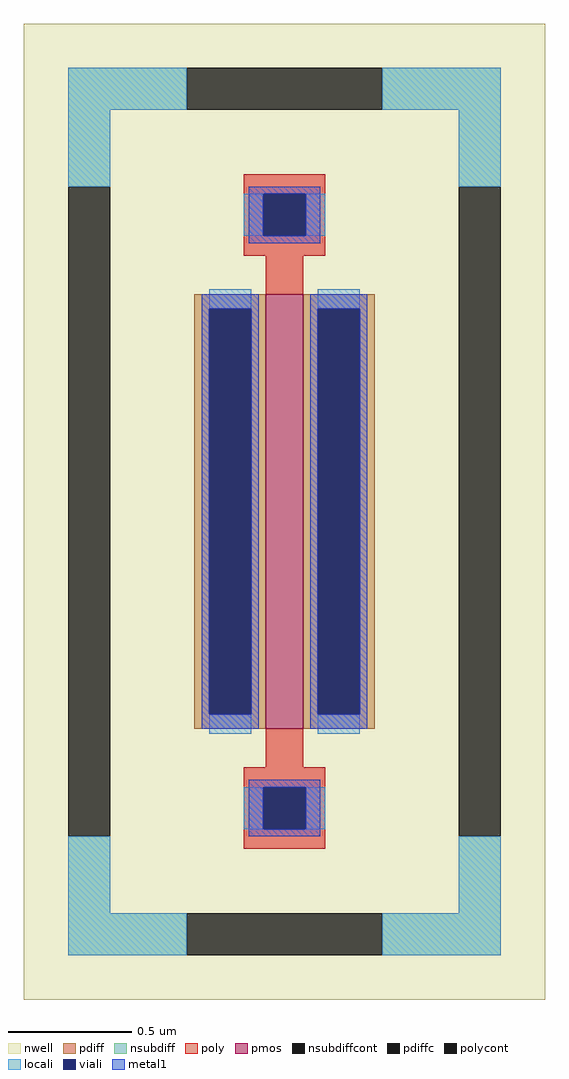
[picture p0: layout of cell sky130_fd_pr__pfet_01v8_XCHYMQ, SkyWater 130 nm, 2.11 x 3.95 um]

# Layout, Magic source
magic
tech sky130A
magscale 1 2
<< nwell >>
rect -211 -395 211 395
<< pmos >>
rect -15 -176 15 176
<< pdiff >>
rect -73 164 -15 176
rect -73 -164 -61 164
rect -27 -164 -15 164
rect -73 -176 -15 -164
rect 15 164 73 176
rect 15 -164 27 164
rect 61 -164 73 164
rect 15 -176 73 -164
<< pdiffc >>
rect -61 -164 -27 164
rect 27 -164 61 164
<< nsubdiff >>
rect -175 325 -79 359
rect 79 325 175 359
rect -175 263 -141 325
rect 141 263 175 325
rect -175 -325 -141 -263
rect 141 -325 175 -263
rect -175 -359 -79 -325
rect 79 -359 175 -325
<< nsubdiffcont >>
rect -79 325 79 359
rect -175 -263 -141 263
rect 141 -263 175 263
rect -79 -359 79 -325
<< poly >>
rect -33 257 33 273
rect -33 223 -17 257
rect 17 223 33 257
rect -33 207 33 223
rect -15 176 15 207
rect -15 -207 15 -176
rect -33 -223 33 -207
rect -33 -257 -17 -223
rect 17 -257 33 -223
rect -33 -273 33 -257
<< polycont >>
rect -17 223 17 257
rect -17 -257 17 -223
<< locali >>
rect -175 325 -79 359
rect 79 325 175 359
rect -175 263 -141 325
rect 141 263 175 325
rect -33 223 -17 257
rect 17 223 33 257
rect -61 164 -27 180
rect -61 -180 -27 -164
rect 27 164 61 180
rect 27 -180 61 -164
rect -33 -257 -17 -223
rect 17 -257 33 -223
rect -175 -325 -141 -263
rect 141 -325 175 -263
rect -175 -359 -79 -325
rect 79 -359 175 -325
<< viali >>
rect -17 223 17 257
rect -61 -164 -27 164
rect 27 -164 61 164
rect -17 -257 17 -223
<< metal1 >>
rect -29 257 29 263
rect -29 223 -17 257
rect 17 223 29 257
rect -29 217 29 223
rect -67 164 -21 176
rect -67 -164 -61 164
rect -27 -164 -21 164
rect -67 -176 -21 -164
rect 21 164 67 176
rect 21 -164 27 164
rect 61 -164 67 164
rect 21 -176 67 -164
rect -29 -223 29 -217
rect -29 -257 -17 -223
rect 17 -257 29 -223
rect -29 -263 29 -257
<< properties >>
string FIXED_BBOX -158 -342 158 342
string gencell sky130_fd_pr__pfet_01v8
string library sky130
string parameters w 1.76 l 0.15 m 1 nf 1 diffcov 100 polycov 100 guard 1 glc 1 grc 1 gtc 1 gbc 1 tbcov 100 rlcov 100 topc 1 botc 1 poverlap 0 doverlap 1 lmin 0.15 wmin 0.42 compatible {sky130_fd_pr__pfet_01v8  sky130_fd_pr__pfet_01v8_lvt sky130_fd_pr__pfet_01v8_hvt  sky130_fd_pr__pfet_g5v0d10v5} full_metal 1 viasrc 100 viadrn 100 viagate 100 viagb 0 viagr 0 viagl 0 viagt 0
<< end >>
